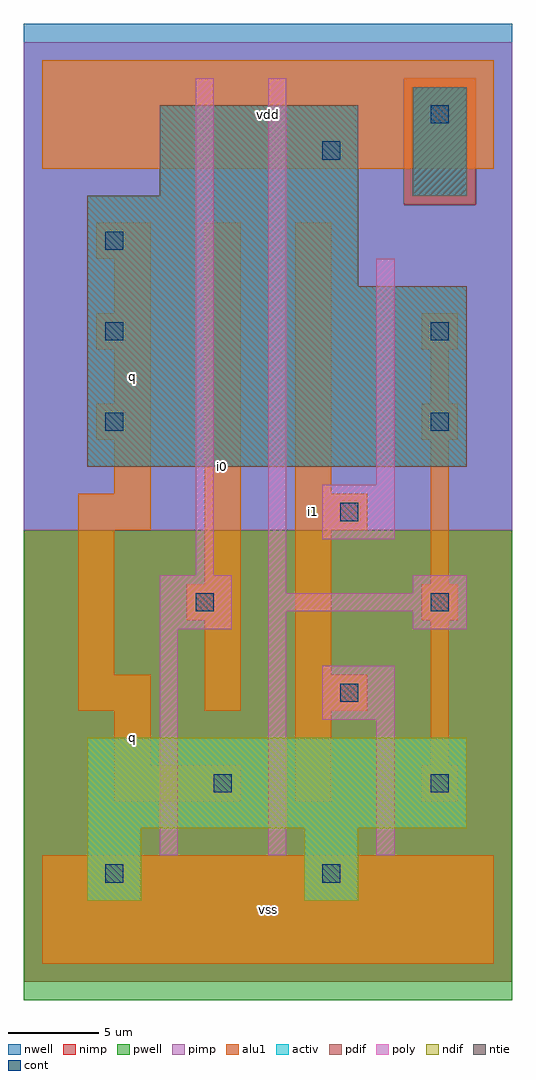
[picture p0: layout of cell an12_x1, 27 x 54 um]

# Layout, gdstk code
import gdstk
lib = gdstk.Library(unit=1e-6, precision=1e-09)
def R(c, l, rs):  # rectangles x0, y0, x1, y1
    for r in rs: c.add(gdstk.rectangle(r[:2], r[2:], *l))
def A(c, l, x, y, w, h, nx, ny, dx, dy):  # array of equal rectangles
    R(c, l, [(x+i*dx, y+j*dy, x+i*dx+w, y+j*dy+h) for i in range(nx) for j in range(ny)])
ndif = (3, 0)
pdif = (4, 0)
ntie = (5, 0)
cont = (25, 0)
pwell = (41, 0)
nwell = (42, 0)
activ = (43, 0)
pimp = (44, 0)
nimp = (45, 0)
poly = (46, 0)
alu1 = (49, 0)

an12_x1 = lib.new_cell('an12_x1')
R(an12_x1, ndif, [(2.5,3.5,5.5,7.5), (14.5,3.5,17.5,7.5), (2.5,7.5,23.5,12.5)])
R(an12_x1, pdif, [(2.5,27.5,23.5,37.5), (2.5,37.5,17.5,42.5), (6.5,42.5,17.5,47.5)])
R(an12_x1, ntie, [(20.5,42.5,23.5,48.5)])
A(an12_x1, cont, 21.5, 9.5, 1, 1, 1, 3, 0, 10)
A(an12_x1, cont, 3.5, 29.5, 1, 1, 1, 3, 0, 5)
R(an12_x1, cont, [(3.5,4.5,4.5,5.5), (15.5,4.5,16.5,5.5), (9.5,9.5,10.5,10.5), (16.5,14.5,17.5,15.5), (8.5,19.5,9.5,20.5), (16.5,24.5,17.5,25.5), (21.5,34.5,22.5,35.5), (15.5,44.5,16.5,45.5), (21.5,46.5,22.5,47.5)])
R(an12_x1, pwell, [(-1,-2,26,24)])
R(an12_x1, nwell, [(-1,24,26,52)])
R(an12_x1, activ, [(2.5,3.5,5.5,7.5), (14.5,3.5,17.5,7.5), (2.5,7.5,23.5,12.5), (2.5,27.5,23.5,37.5), (2.5,37.5,17.5,42.5), (6.5,42.5,17.5,47.5), (20.5,42.5,23.5,48.5)])
R(an12_x1, pimp, [(-1,24,26,42), (-1,42,20,49), (24,42,26,49), (-1,49,26,51)])
R(an12_x1, nimp, [(-1,-1,26,24), (20,42,24,49)])
R(an12_x1, poly, [(6.5,6,7.5,18.5), (12.5,6,13.5,19.5), (18.5,6,19.5,13.5), (15.5,13.5,19.5,16.5), (6.5,18.5,10.5,21.5), (20.5,18.5,23.5,19.5), (12.5,19.5,23.5,20.5), (12.5,20.5,13.5,49), (20.5,20.5,23.5,21.5), (8.5,21.5,9.5,49), (15.5,23.5,19.5,26.5), (18.5,26.5,19.5,39)])
A(an12_x1, alu1, 21, 9, 2, 2, 1, 3, 0, 10)
A(an12_x1, alu1, 4, 26, 2, 3, 1, 3, 0, 5)
A(an12_x1, alu1, 3, 29, 3, 2, 1, 3, 0, 5)
R(an12_x1, alu1, [(0,0,25,6), (4,9,11,11), (14,9,16,14), (4,11,6,14), (21.5,11,22.5,19), (2,14,6,16), (9,14,11,19), (14,14,18,16), (2,16,4,24), (14,16,16,24), (8,19,11,21), (9,21,11,41), (21.5,21,22.5,29), (2,24,6,26), (14,24,18,26), (14,26,16,41), (21.5,31,22.5,34), (21,34,23,36), (0,44,25,50)])
an12_x1.add(gdstk.Label('q', (5,12.5), layer=49, texttype=0))
an12_x1.add(gdstk.Label('i0', (10,27.5), layer=49, texttype=0))
an12_x1.add(gdstk.Label('q', (5,32.5), layer=49, texttype=0))
an12_x1.add(gdstk.Label('vss', (12.5,3), layer=49, texttype=0))
an12_x1.add(gdstk.Label('i1', (15,25), layer=49, texttype=0))
an12_x1.add(gdstk.Label('vdd', (12.5,47), layer=49, texttype=0))

lib.write_gds('an12_x1.gds')
